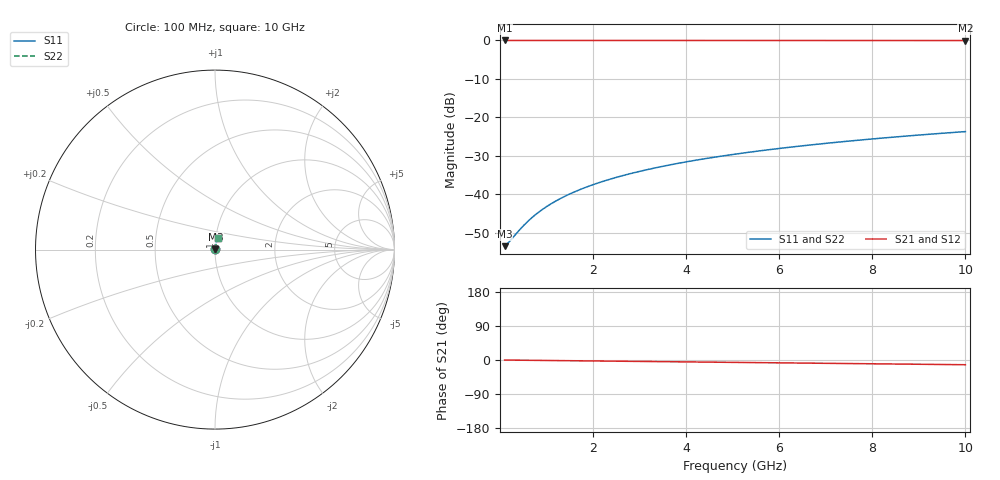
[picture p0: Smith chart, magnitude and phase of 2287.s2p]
# Hz S RI R 50.00
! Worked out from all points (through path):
!   100 points, 100 MHz to 10 GHz, reference 50 ohm
!   highest |S21| = -0.02 dB at 100 MHz (marker M1); lowest = 0.0 dB at 10 GHz (marker M2)
!   group delay of S21, straight-line fit = 3.47 ps
!   lowest |S11| = -53.6 dB at 100 MHz (marker M3), VSWR 1.00, Z = 50.2 + j0.0653 ohm
!   |S11| at or under -10 dB: start of sweep to end of sweep
!   |S22| runs from -53.6 to -23.7 dB; largest |S21 - S12| = 0
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1e8  0.002 0.000651  0.998 -0.00217  0.998 -0.00217  0.002 0.000651
2e8  0.00201 0.0013  0.998 -0.00434  0.998 -0.00434  0.00201 0.0013
4e8  0.00205 0.0026  0.9979 -0.00868  0.9979 -0.00868  0.00205 0.0026
5e8  0.00207 0.00325  0.9979 -0.0109  0.9979 -0.0109  0.00207 0.00325
6e8  0.00209 0.0039  0.9979 -0.013  0.9979 -0.013  0.00209 0.0039
7e8  0.00211 0.00455  0.9978 -0.0152  0.9978 -0.0152  0.00211 0.00455
9e8  0.00216 0.00585  0.9977 -0.0195  0.9977 -0.0195  0.00216 0.00585
1.1e9  0.00223 0.00715  0.9976 -0.0239  0.9976 -0.0239  0.00223 0.00715
1.3e9  0.0023 0.00845  0.9975 -0.0282  0.9975 -0.0282  0.0023 0.00845
1.5e9  0.00239 0.00975  0.9973 -0.0326  0.9973 -0.0326  0.00239 0.00975
1.8e9  0.00254 0.0117  0.9971 -0.0391  0.9971 -0.0391  0.00254 0.0117
2.1e9  0.00271 0.0136  0.9968 -0.0456  0.9968 -0.0456  0.00271 0.0136
2.5e9  0.00298 0.0162  0.9963 -0.0543  0.9963 -0.0543  0.00298 0.0162
2.9e9  0.00329 0.0188  0.9957 -0.0629  0.9957 -0.0629  0.00329 0.0188
3.4e9  0.00374 0.022  0.9949 -0.0738  0.9949 -0.0738  0.00374 0.022
4.2e9  0.00461 0.0272  0.9933 -0.0911  0.9933 -0.0911  0.00461 0.0272
5.1e9  0.00581 0.0329  0.9911 -0.1105  0.9911 -0.1105  0.00581 0.0329
5.9e9  0.00706 0.0379  0.9888 -0.1278  0.9888 -0.1278  0.00706 0.0379
6.7e9  0.00848 0.043  0.9862 -0.145  0.9862 -0.145  0.00848 0.043
7.5e9  0.0101 0.0479  0.9833 -0.1621  0.9833 -0.1621  0.0101 0.0479
8.4e9  0.0121 0.0534  0.9796 -0.1814  0.9796 -0.1814  0.0121 0.0534
1e10  0.0162 0.063  0.972 -0.2154  0.972 -0.2154  0.0162 0.063
